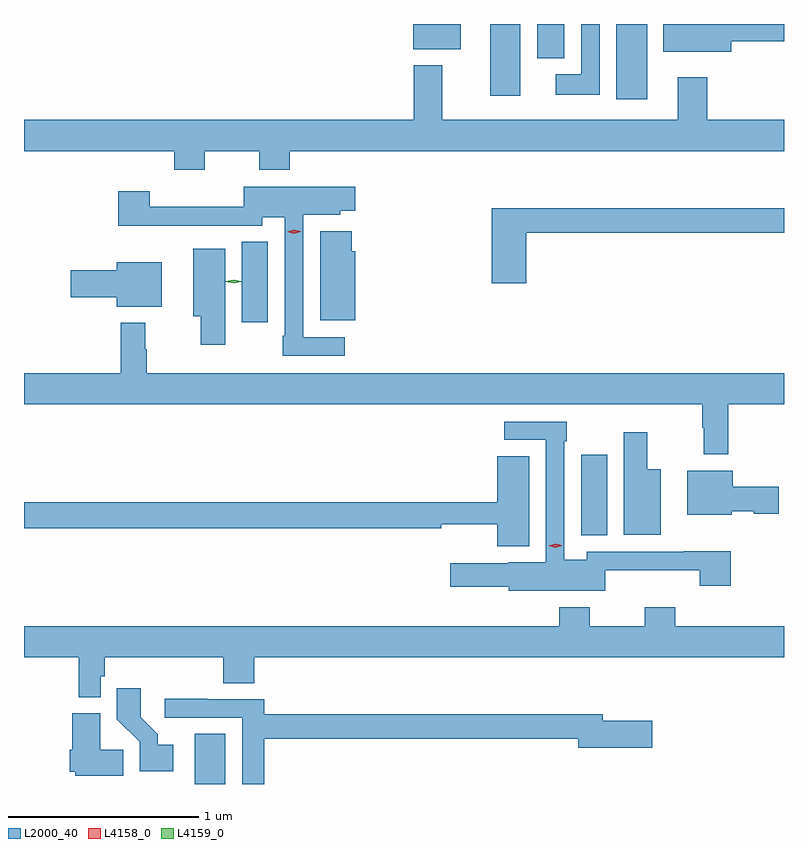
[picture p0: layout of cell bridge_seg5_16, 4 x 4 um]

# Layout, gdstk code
import gdstk
lib = gdstk.Library(unit=1e-6, precision=1e-09)
def R(c, l, rs):  # rectangles x0, y0, x1, y1
    for r in rs: c.add(gdstk.rectangle(r[:2], r[2:], *l))
def P(c, l, *ps):  # polygons
    for p in ps: c.add(gdstk.Polygon(p, *l))
L2000_40 = (2000, 40)
L4158_0 = (4158, 0)
L4159_0 = (4159, 0)

bridge_seg5_16 = lib.new_cell('bridge_seg5_16')
R(bridge_seg5_16, L2000_40, [(890.153,840.109,890.314,840.373), (892.187,841.417,892.324,841.843), (890.402,842.538,890.539,842.963), (892.373,843.714,892.534,844.109), (891.71,843.732,891.868,844.109), (891.956,843.929,892.099,844.109), (891.303,843.977,891.553,844.109)])
P(bridge_seg5_16, L2000_40, [(892.978,844.017),(893.255,844.017),(893.255,844.109),(892.619,844.109),(892.619,843.962),(892.978,843.962)],
  [(892.284,844.109),(892.188,844.109),(892.188,843.844),(892.053,843.844),(892.053,843.737),(892.284,843.737)],
  [(890.205,843.44),(890.494,843.44),(890.494,843.341),(890.654,843.341),(890.654,843.44),(893.255,843.44),(893.255,843.604),(892.85,843.604),(892.85,843.829),(892.697,843.829),(892.697,843.604),(891.457,843.604),(891.457,843.892),(891.305,843.892),(891.305,843.604),(889.255,843.604),(889.255,843.44),(890.045,843.44),(890.045,843.341),(890.205,843.341)],
  [(890.944,842.46),(890.724,842.46),(890.724,843.104),(890.919,843.104),(890.919,843.125),(890.998,843.125),(890.998,843.253),(890.412,843.253),(890.412,843.146),(889.916,843.146),(889.916,843.229),(889.751,843.229),(889.751,843.047),(889.999,843.047),(889.999,843.048),(890.508,843.048),(890.508,843.092),(890.628,843.092),(890.628,842.467),(890.616,842.467),(890.616,842.364),(890.944,842.364)],
  [(891.899,843.01),(893.255,843.01),(893.255,843.139),(891.716,843.139),(891.716,842.745),(891.899,842.745)],
  [(890.998,842.913),(890.98,842.913),(890.98,843.019),(890.813,843.019),(890.813,842.549),(890.998,842.549)],
  [(890.314,842.926),(890.147,842.926),(890.147,842.57),(890.185,842.57),(890.185,842.421),(890.314,842.421)],
  [(889.981,842.854),(889.742,842.854),(889.742,842.813),(889.5,842.813),(889.5,842.671),(889.742,842.671),(889.742,842.621),(889.981,842.621)],
  [(892.961,842.108),(893.255,842.108),(893.255,842.272),(889.901,842.272),(889.901,842.396),(889.894,842.396),(889.894,842.536),(889.765,842.536),(889.765,842.272),(889.255,842.272),(889.255,842.108),(892.825,842.108),(892.825,841.985),(892.833,841.985),(892.833,841.845),(892.961,841.845)],
  [(892.314,841.235),(892.811,841.235),(892.811,841.152),(892.976,841.152),(892.976,841.334),(892.727,841.334),(892.727,841.332),(892.218,841.332),(892.218,841.288),(892.098,841.288),(892.098,841.913),(892.111,841.913),(892.111,842.016),(891.783,842.016),(891.783,841.92),(892.002,841.92),(892.002,841.276),(891.807,841.276),(891.807,841.27),(891.498,841.27),(891.498,841.148),(891.807,841.148),(891.807,841.127),(892.314,841.127)],
  [(892.606,841.765),(892.534,841.765),(892.534,841.96),(892.412,841.96),(892.412,841.421),(892.606,841.421)],
  [(891.913,841.835),(891.746,841.835),(891.746,841.592),(889.255,841.592),(889.255,841.456),(891.45,841.456),(891.45,841.475),(891.746,841.475),(891.746,841.361),(891.913,841.361)],
  [(892.98,841.544),(893.097,841.544),(893.097,841.532),(893.227,841.532),(893.227,841.674),(892.984,841.674),(892.984,841.759),(892.745,841.759),(892.745,841.526),(892.98,841.526)],
  [(889.255,840.776),(889.543,840.776),(889.543,840.566),(889.659,840.566),(889.659,840.675),(889.679,840.675),(889.679,840.776),(890.303,840.776),(890.303,840.64),(890.468,840.64),(890.468,840.776),(893.255,840.776),(893.255,840.94),(892.682,840.94),(892.682,841.039),(892.522,841.039),(892.522,840.94),(892.233,840.94),(892.233,841.039),(892.073,841.039),(892.073,840.94),(889.255,840.94)],
  [(890.041,840.316),(889.96,840.316),(889.96,840.371),(889.87,840.461),(889.87,840.613),(889.744,840.613),(889.744,840.45),(889.863,840.331),(889.863,840.176),(890.041,840.176)],
  [(890.519,840.346),(892.172,840.346),(892.172,840.299),(892.561,840.299),(892.561,840.441),(892.3,840.441),(892.3,840.475),(890.519,840.475),(890.519,840.555),(890.219,840.555),(890.219,840.558),(889.995,840.558),(889.995,840.459),(890.403,840.459),(890.403,840.109),(890.519,840.109)],
  [(889.778,840.29),(889.657,840.29),(889.657,840.481),(889.508,840.481),(889.508,840.288),(889.496,840.288),(889.496,840.174),(889.524,840.174),(889.524,840.152),(889.778,840.152)])
P(bridge_seg5_16, L4158_0, [(890.676,843.006),(890.641,843.015),(890.641,843.015),(890.641,843.015),(890.676,843.026),(890.711,843.017),(890.711,843.016),(890.711,843.016)],
  [(892.051,841.353),(892.016,841.362),(892.015,841.362),(892.016,841.362),(892.05,841.373),(892.085,841.365),(892.085,841.365),(892.085,841.364)])
P(bridge_seg5_16, L4159_0, [(890.358,842.744),(890.318,842.753),(890.317,842.754),(890.318,842.754),(890.358,842.764),(890.399,842.754),(890.399,842.754),(890.399,842.753)])

lib.write_gds('bridge_seg5_16.gds')
